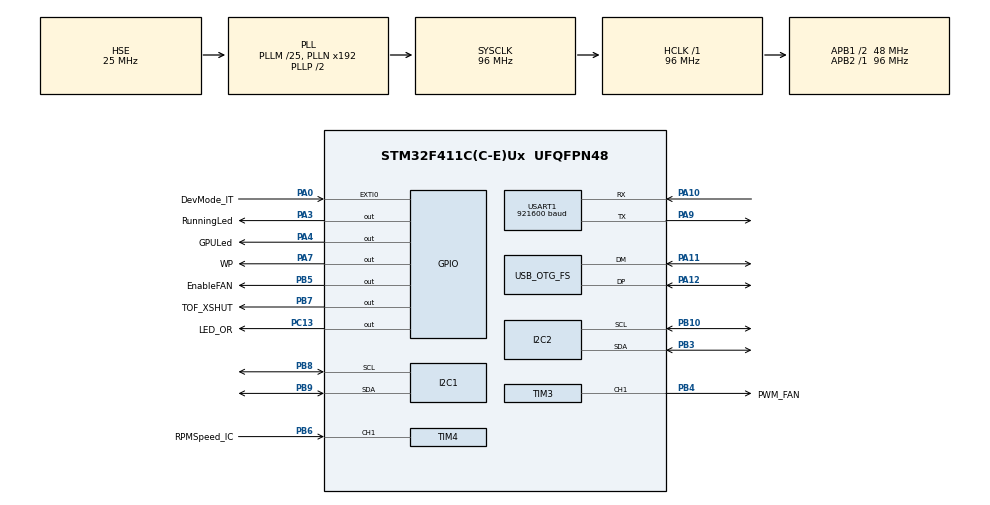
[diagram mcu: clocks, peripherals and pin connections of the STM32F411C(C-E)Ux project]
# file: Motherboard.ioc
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Dma.I2C2_RX.0.Direction=DMA_PERIPH_TO_MEMORY
Dma.I2C2_RX.0.FIFOMode=DMA_FIFOMODE_DISABLE
Dma.I2C2_RX.0.Instance=DMA1_Stream2
Dma.I2C2_RX.0.MemDataAlignment=DMA_MDATAALIGN_BYTE
Dma.I2C2_RX.0.MemInc=DMA_MINC_ENABLE
Dma.I2C2_RX.0.Mode=DMA_NORMAL
Dma.I2C2_RX.0.PeriphDataAlignment=DMA_PDATAALIGN_BYTE
Dma.I2C2_RX.0.PeriphInc=DMA_PINC_DISABLE
Dma.I2C2_RX.0.Priority=DMA_PRIORITY_LOW
Dma.I2C2_TX.1.Direction=DMA_MEMORY_TO_PERIPH
Dma.I2C2_TX.1.FIFOMode=DMA_FIFOMODE_DISABLE
Dma.I2C2_TX.1.Instance=DMA1_Stream7
Dma.I2C2_TX.1.MemDataAlignment=DMA_MDATAALIGN_BYTE
Dma.I2C2_TX.1.MemInc=DMA_MINC_ENABLE
Dma.I2C2_TX.1.Mode=DMA_NORMAL
Dma.I2C2_TX.1.PeriphDataAlignment=DMA_PDATAALIGN_BYTE
Dma.I2C2_TX.1.PeriphInc=DMA_PINC_DISABLE
Dma.I2C2_TX.1.Priority=DMA_PRIORITY_LOW
Dma.Request0=I2C2_RX
Dma.Request1=I2C2_TX
Dma.Request2=USART1_TX
Dma.Request3=USART1_RX
Dma.USART1_RX.3.Direction=DMA_PERIPH_TO_MEMORY
Dma.USART1_RX.3.FIFOMode=DMA_FIFOMODE_DISABLE
Dma.USART1_RX.3.Instance=DMA2_Stream2
Dma.USART1_RX.3.MemDataAlignment=DMA_MDATAALIGN_BYTE
Dma.USART1_RX.3.MemInc=DMA_MINC_ENABLE
Dma.USART1_RX.3.Mode=DMA_NORMAL
Dma.USART1_RX.3.PeriphDataAlignment=DMA_PDATAALIGN_BYTE
Dma.USART1_RX.3.PeriphInc=DMA_PINC_DISABLE
Dma.USART1_RX.3.Priority=DMA_PRIORITY_LOW
Dma.USART1_TX.2.Direction=DMA_MEMORY_TO_PERIPH
Dma.USART1_TX.2.FIFOMode=DMA_FIFOMODE_DISABLE
Dma.USART1_TX.2.Instance=DMA2_Stream7
Dma.USART1_TX.2.MemDataAlignment=DMA_MDATAALIGN_BYTE
Dma.USART1_TX.2.MemInc=DMA_MINC_ENABLE
Dma.USART1_TX.2.Mode=DMA_NORMAL
Dma.USART1_TX.2.PeriphDataAlignment=DMA_PDATAALIGN_BYTE
Dma.USART1_TX.2.PeriphInc=DMA_PINC_DISABLE
Dma.USART1_TX.2.Priority=DMA_PRIORITY_HIGH
FREERTOS.BinarySemaphores01=xSemaphore_PID,Static,xSemaphore_PIDControlBlock;xSemaphore_PID_Init,Static,xSemaphore_PID_InitControlBlock;xSemaphore_DMA_TransferCplt,Static,xSemaphore_DMA_TransferCpltControlBlock;xSemaphore_MemoryPoolUsed,Static,xSemaphore_MemoryPoolUsedControlBlock;xSemaphore_SensorTxCplt,Static,xSemaphore_SensorTxCpltControlBlock;xSemaphore_SensorRxCplt,Static,xSemaphore_SensorRxCpltControlBlock;xSemaphore_InitDaughter,Static,xSemaphore_InitDaughterControlBlock;xSemaphore_SensorError,Static,xSemaphore_SensorErrorControlBlock;xSemaphore_UARTRxCplt,Static,xSemaphore_UARTRxCpltControlBlock;xSemaphore_UARTTxCplt,Static,xSemaphore_UARTTxCpltControlBlock
FREERTOS.Events01=xEvent_FatalError,Static,xEvent_FatalErrorControlBlock;xEvent_ControlModes,Static,xEvent_ControlModesControlBlock;xEvent_Diagnostics,Static,xEvent_DiagnosticsControlBlock;xEvent_USB,Static,xEvent_USBControlBlock
FREERTOS.Mutexes01=xMutex_EEPROM,Static,xMutex_EEPROMControlBlock
FREERTOS.Queues01=xFIFO_COM,16,PDU_t,0,Static,xFIFO_COMBuffer,xFIFO_COMControlBlock;xFIFO_PIDDistance,16,uint16_t,0,Static,xFIFO_DistanceBuffer,xFIFO_DistanceControlBlock;xFIFO_PIDConfigs,16,PIDConfigs,0,Static,xFIFO_PIDConfigsBuffer,xFIFO_PIDConfigsControlBlock;xFIFO_DiagsLong,16,DiagPDU_t,0,Static,xFIFO_DiagsLongBuffer,xFIFO_DiagsLongControlBlock;xFIFO_DiagShort,16,PDU_t,0,Static,xFIFO_DiagShortBuffer,xFIFO_DiagShortControlBlock;xFIFO_COMDistance,32,int16_t,0,Static,xFIFO_COMDistanceBuffer,xFIFO_COMDistanceControlBlock;xFIFO_COMRPM,32,int16_t,0,Static,xFIFO_COMRPMBuffer,xFIFO_COMRPMControlBlock;xFIFO_COMActionControl,32,int16_t,0,Static,xFIFO_COMActionControlBuffer,xFIFO_COMActionControlControlBlock;xFIFO_FANDutyCycle,16,int8_t,0,Static,xFIFO_FANDutyCycleBuffer,xFIFO_FANDutyCycleControlBlock;xFIFO_PIDSetPoint,16,int16_t,0,Static,xFIFO_PIDSetPointBuffer,xFIFO_PIDSetPointControlBlock;xFIFO_USBDistance,32,int16_t,0,Static,xFIFO_USBDistanceBuffer,xFIFO_USBDistanceControlBlock
FREERTOS.Tasks01=TaskWdgM,48,256,vTaskWdgM,Default,NULL,Static,TaskWdgMBuffer,TaskWdgMControlBlock;TaskModeManager,32,128,vTaskModeManager,As external,NULL,Static,TaskModeManagerBuffer,TaskModeManagerControlBlock;TaskPID,32,256,vTaskPID,As external,NULL,Static,TaskPIDBuffer,TaskPIDControlBlock;TaskCOM,40,512,vTaskCOM,As external,NULL,Static,TaskCOMBuffer,TaskCOMControlBlock;TaskDiagAppl,24,128,vTaskDiagAppl,As external,NULL,Static,TaskDiagApplBuffer,TaskDiagApplControlBlock;TaskLeds,32,64,vTaskLeds,As external,NULL,Static,TaskLedsBuffer,TaskLedsControlBlock;TaskSensor,32,256,vTaskSensor,As external,NULL,Static,TaskSensorBuffer,TaskSensorControlBlock;TaskFAN,32,128,vTaskFAN,As external,NULL,Static,TaskFANBuffer,TaskFANControlBlock;SubTaskUSB,24,1024,vSubTaskUSB,As external,NULL,Static,SubTaskUSBBuffer,SubTaskUSBControlBlock;SubTaskUART,24,256,vSubTaskUART,As external,NULL,Static,SubTaskUARTBuffer,SubTaskUARTControlBlock
FREERTOS.Timers01=xTimer_UARTSend,vTimer_UARTSendCallback,osTimerPeriodic,As external,NULL,Static,xTimer_ControlBlock;xTimer_WdgUART,vTimer_WdgUARTCallback,osTimerOnce,As external,NULL,Static,xTimer_WdgUARTControlBlock;xTimer_RestartSensorTask,vTimer_RestartSensorTaskCallback,osTimerOnce,As external,NULL,Static,xTimer_RestartSensorTaskControlBlock
FREERTOS.configCHECK_FOR_STACK_OVERFLOW=2
FREERTOS.configENABLE_FPU=1
FREERTOS.configGENERATE_RUN_TIME_STATS=1
FREERTOS.configMAX_TASK_NAME_LEN=32
FREERTOS.configMINIMAL_STACK_SIZE=64
FREERTOS.configRECORD_STACK_HIGH_ADDRESS=0
FREERTOS.configTIMER_TASK_STACK_DEPTH=256
FREERTOS.configTOTAL_HEAP_SIZE=20480
FREERTOS.configUSE_NEWLIB_REENTRANT=1
FREERTOS.configUSE_STATS_FORMATTING_FUNCTIONS=1
I2C1.I2C_Mode=I2C_Fast
I2C2.I2C_Mode=I2C_Fast
IWDG.Reload=4000
Mcu.Family=STM32F4
Mcu.Name=STM32F411C(C-E)Ux
Mcu.Package=UFQFPN48
NVIC.DMA1_Stream2_IRQn=true\:5\:0\:false\:false\:true\:true\:false\:true\:true
NVIC.DMA1_Stream7_IRQn=true\:5\:0\:false\:false\:true\:true\:false\:true\:true
NVIC.DMA2_Stream2_IRQn=true\:5\:0\:false\:false\:true\:true\:false\:true\:true
NVIC.DMA2_Stream7_IRQn=true\:5\:0\:false\:false\:true\:true\:false\:true\:true
NVIC.I2C1_ER_IRQn=true\:5\:0\:false\:false\:true\:true\:true\:true\:true
NVIC.I2C1_EV_IRQn=true\:5\:0\:false\:false\:true\:true\:true\:true\:true
NVIC.OTG_FS_IRQn=true\:5\:0\:false\:false\:true\:true\:false\:true\:true
NVIC.PriorityGroup=NVIC_PRIORITYGROUP_4
NVIC.TIM1_UP_TIM10_IRQn=true\:5\:0\:false\:false\:true\:true\:true\:true\:true
NVIC.TIM2_IRQn=true\:5\:0\:false\:false\:true\:true\:true\:true\:true
NVIC.TIM4_IRQn=true\:5\:0\:false\:false\:true\:true\:true\:true\:true
NVIC.TIM5_IRQn=true\:5\:0\:false\:false\:true\:true\:true\:true\:true
NVIC.USART1_IRQn=true\:5\:0\:false\:false\:true\:true\:true\:true\:true
PA0-WKUP.GPIO_Label=DevMode_IT
PA0-WKUP.Signal=GPXTI0
PA10.Mode=Asynchronous
PA10.Signal=USART1_RX
PA11.Mode=Device_Only
PA11.Signal=USB_OTG_FS_DM
PA12.Mode=Device_Only
PA12.Signal=USB_OTG_FS_DP
PA13.Mode=Serial_Wire
PA13.Signal=SYS_JTMS-SWDIO
PA14.Mode=Serial_Wire
PA14.Signal=SYS_JTCK-SWCLK
PA3.GPIO_Label=RunningLed
PA3.Signal=GPIO_Output
PA4.GPIO_Label=GPULed
PA4.Signal=GPIO_Output
PA7.GPIO_Label=WP
PA7.Signal=GPIO_Output
PA9.Mode=Asynchronous
PA9.Signal=USART1_TX
PB10.Mode=I2C
PB10.Signal=I2C2_SCL
PB3.Mode=I2C
PB3.Signal=I2C2_SDA
PB4.GPIO_Label=PWM_FAN
PB4.Signal=S_TIM3_CH1
PB5.GPIO_Label=EnableFAN
PB5.Signal=GPIO_Output
PB6.GPIO_Label=RPMSpeed_IC
PB6.GPIO_PuPd=GPIO_PULLUP
PB6.Signal=S_TIM4_CH1
PB7.GPIO_Label=TOF_XSHUT
PB7.Signal=GPIO_Output
PB8.Mode=I2C
PB8.Signal=I2C1_SCL
PB9.Mode=I2C
PB9.Signal=I2C1_SDA
PC13-ANTI_TAMP.GPIO_Label=LED_OR
PC13-ANTI_TAMP.Signal=GPIO_Output
PC14-OSC32_IN.Mode=LSE-External-Oscillator
PC14-OSC32_IN.Signal=RCC_OSC32_IN
PC15-OSC32_OUT.Mode=LSE-External-Oscillator
PC15-OSC32_OUT.Signal=RCC_OSC32_OUT
PH0\ -\ OSC_IN.Mode=HSE-External-Oscillator
PH0\ -\ OSC_IN.Signal=RCC_OSC_IN
PH1\ -\ OSC_OUT.Mode=HSE-External-Oscillator
PH1\ -\ OSC_OUT.Signal=RCC_OSC_OUT
ProjectManager.HeapSize=0x200
ProjectManager.StackSize=0x400
ProjectManager.TargetToolchain=STM32CubeIDE
RCC.48MHZClocksFreq_Value=48000000
RCC.AHBFreq_Value=96000000
RCC.APB1CLKDivider=RCC_HCLK_DIV2
RCC.APB1Freq_Value=48000000
RCC.APB1TimFreq_Value=96000000
RCC.APB2Freq_Value=96000000
RCC.APB2TimFreq_Value=96000000
RCC.CortexFreq_Value=96000000
RCC.HCLKFreq_Value=96000000
RCC.HSE_VALUE=25000000
RCC.HSI_VALUE=16000000
RCC.PLLM=25
RCC.RCC_RTC_Clock_Source=RCC_RTCCLKSOURCE_LSE
RCC.RCC_RTC_Clock_SourceVirtual=RCC_RTCCLKSOURCE_LSE
RCC.SYSCLKFreq_VALUE=96000000
RCC.SYSCLKSource=RCC_SYSCLKSOURCE_PLLCLK
RCC.VCOOutputFreq_Value=192000000
RTC.HourFormat=RTC_HOURFORMAT_12
SH.S_TIM3_CH1.0=TIM3_CH1,PWM Generation1 CH1
SH.S_TIM4_CH1.0=TIM4_CH1,Input_Capture1_from_TI1
TIM1.AutoReloadPreload=TIM_AUTORELOAD_PRELOAD_ENABLE
TIM1.Period=63999
TIM1.Prescaler=14
TIM2.AutoReloadPreload=TIM_AUTORELOAD_PRELOAD_ENABLE
TIM2.Period=0xffffffff
TIM2.Prescaler=96-1
TIM3.AutoReloadPreload=TIM_AUTORELOAD_PRELOAD_ENABLE
TIM3.Channel-PWM\ Generation1\ CH1=TIM_CHANNEL_1
TIM3.Period=3999
TIM4.AutoReloadPreload=TIM_AUTORELOAD_PRELOAD_ENABLE
TIM4.Channel-Input_Capture1_from_TI1=TIM_CHANNEL_1
TIM4.ICFilter_CH1=0
TIM4.Prescaler=96-1
TIM5.AutoReloadPreload=TIM_AUTORELOAD_PRELOAD_ENABLE
TIM5.Period=63999
TIM5.Prescaler=14
USART1.BaudRate=921600
USART1.Parity=PARITY_EVEN
USART1.VirtualMode=VM_ASYNC
USART1.WordLength=WORDLENGTH_9B
USB_DEVICE.CLASS_NAME_FS=CDC
USB_DEVICE.MANUFACTURER_STRING=Instituto Tecnologico de Morelia
USB_DEVICE.PRODUCT_STRING_CDC_FS=Pneumatic Levitator ITM
USB_DEVICE.VirtualMode=Cdc
USB_DEVICE.VirtualModeFS=Cdc_FS
USB_OTG_FS.VirtualMode=Device_Only
VP_FREERTOS_VS_CMSIS_V2.Mode=CMSIS_V2
VP_IWDG_VS_IWDG.Mode=IWDG_Activate
VP_RTC_VS_RTC_Activate.Mode=RTC_Enabled
VP_TIM1_VS_ClockSourceINT.Mode=Internal
VP_TIM2_VS_ClockSourceINT.Mode=Internal
VP_TIM3_VS_ClockSourceINT.Mode=Internal
VP_TIM4_VS_ClockSourceINT.Mode=Internal
VP_TIM5_VS_ClockSourceINT.Mode=Internal
VP_USB_DEVICE_VS_USB_DEVICE_CDC_FS.Mode=CDC_FS
board=custom

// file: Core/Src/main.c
/* USER CODE BEGIN Header */
/**
 * @file      main.c
 * @author    Pedro Rojo (pedroeroca@outlook.com)
 *
 * @brief     Main program Body
 *
 * @date      May 29, 2024
 *
 * @license   This Source Code Form is subject to the terms of
 *            the Mozilla Public License, v. 2.0. If a copy of
 *            the MPL was not distributed with this file, You
 *            can obtain one at https://mozilla.org/MPL/2.0/.
 *
 * @copyright Copyright (c) 2024
 */
/* USER CODE END Header */
#include "main.h"
#include "cmsis_os.h"
#include "usb_device.h"

/* USER CODE BEGIN Includes */
#include "DistanceSensor.h"
#include "DiagAppl.h"
#include "PID.h"
#include "FAN.h"
#include "COM.h"
#include "Signals.h"
#include "NVM.h"
/* USER CODE END Includes */

typedef StaticTask_t osStaticThreadDef_t;
typedef StaticQueue_t osStaticMessageQDef_t;
typedef StaticTimer_t osStaticTimerDef_t;
typedef StaticSemaphore_t osStaticMutexDef_t;
typedef StaticSemaphore_t osStaticSemaphoreDef_t;
typedef StaticEventGroup_t osStaticEventGroupDef_t;

/* USER CODE BEGIN PM */
/*Documenting the peripheals*/

/**
I2C_HandleTypeDef hi2c1; //Connection to the VL53L0X
I2C_HandleTypeDef hi2c2; //Connection to the AT24C04
DMA_HandleTypeDef hdma_i2c2_rx;
DMA_HandleTypeDef hdma_i2c2_tx;

IWDG_HandleTypeDef hiwdg; //Watchdog timer @ 500ms

RTC_HandleTypeDef hrtc; //RTC for date control

Requirements on timers
Acknowledge with Daughter Board @ 10ms (Period desired by COM Engineer)
Fan RPM measure (Input Capture)
Fan PWM controller @ 24KHz (manufacturer recommended frequency)

TIM_HandleTypeDef htim1; //UART Watchdog Timer
TIM_HandleTypeDef htim2; //CPU Load measure for the OS
TIM_HandleTypeDef htim3; //Fan PWM controller @ 24KHz (manufacturer recommended frequency)
TIM_HandleTypeDef htim4; //Fan RPM measure (Input Capture) @ 1MHz
TIM_HandleTypeDef htim5; //Pending for application

UART_HandleTypeDef huart1; //Daughter board connection
DMA_HandleTypeDef hdma_usart1_rx;
DMA_HandleTypeDef hdma_usart1_tx;
 */

/* USER CODE END PM */

I2C_HandleTypeDef hi2c1;
I2C_HandleTypeDef hi2c2;
DMA_HandleTypeDef hdma_i2c2_rx;
DMA_HandleTypeDef hdma_i2c2_tx;

IWDG_HandleTypeDef hiwdg;

RTC_HandleTypeDef hrtc;

TIM_HandleTypeDef htim1;
TIM_HandleTypeDef htim2;
TIM_HandleTypeDef htim3;
TIM_HandleTypeDef htim4;
TIM_HandleTypeDef htim5;

UART_HandleTypeDef huart1;
DMA_HandleTypeDef hdma_usart1_tx;
DMA_HandleTypeDef hdma_usart1_rx;

/* Definitions for TaskWdgM */
osThreadId_t TaskWdgMHandle;
uint32_t TaskWdgMBuffer[ 256 ];
osStaticThreadDef_t TaskWdgMControlBlock;
const osThreadAttr_t TaskWdgM_attributes = {
  .name = "TaskWdgM",
  .cb_mem = &TaskWdgMControlBlock,
  .cb_size = sizeof(TaskWdgMControlBlock),
  .stack_mem = &TaskWdgMBuffer[0],
  .stack_size = sizeof(TaskWdgMBuffer),
  .priority = (osPriority_t) osPriorityRealtime,
};
/* Definitions for TaskModeManager */
osThreadId_t TaskModeManagerHandle;
uint32_t TaskModeManagerBuffer[ 128 ];
osStaticThreadDef_t TaskModeManagerControlBlock;
const osThreadAttr_t TaskModeManager_attributes = {
  .name = "TaskModeManager",
  .cb_mem = &TaskModeManagerControlBlock,
  .cb_size = sizeof(TaskModeManagerControlBlock),
  .stack_mem = &TaskModeManagerBuffer[0],
  .stack_size = sizeof(TaskModeManagerBuffer),
  .priority = (osPriority_t) osPriorityAboveNormal,
};
/* Definitions for TaskPID */
osThreadId_t TaskPIDHandle;
uint32_t TaskPIDBuffer[ 256 ];
osStaticThreadDef_t TaskPIDControlBlock;
const osThreadAttr_t TaskPID_attributes = {
  .name = "TaskPID",
  .cb_mem = &TaskPIDControlBlock,
  .cb_size = sizeof(TaskPIDControlBlock),
  .stack_mem = &TaskPIDBuffer[0],
  .stack_size = sizeof(TaskPIDBuffer),
  .priority = (osPriority_t) osPriorityAboveNormal,
};
/* Definitions for TaskCOM */
osThreadId_t TaskCOMHandle;
uint32_t TaskCOMBuffer[ 512 ];
osStaticThreadDef_t TaskCOMControlBlock;
const osThreadAttr_t TaskCOM_attributes = {
  .name = "TaskCOM",
  .cb_mem = &TaskCOMControlBlock,
  .cb_size = sizeof(TaskCOMControlBlock),
  .stack_mem = &TaskCOMBuffer[0],
  .stack_size = sizeof(TaskCOMBuffer),
  .priority = (osPriority_t) osPriorityHigh,
};
/* Definitions for TaskDiagAppl */
osThreadId_t TaskDiagApplHandle;
uint32_t TaskDiagApplBuffer[ 128 ];
osStaticThreadDef_t TaskDiagApplControlBlock;
const osThreadAttr_t TaskDiagAppl_attributes = {
  .name = "TaskDiagAppl",
  .cb_mem = &TaskDiagApplControlBlock,
  .cb_size = sizeof(TaskDiagApplControlBlock),
  .stack_mem = &TaskDiagApplBuffer[0],
  .stack_size = sizeof(TaskDiagApplBuffer),
  .priority = (osPriority_t) osPriorityNormal,
};
/* Definitions for TaskLeds */
osThreadId_t TaskLedsHandle;
uint32_t TaskLedsBuffer[ 64 ];
osStaticThreadDef_t TaskLedsControlBlock;
const osThreadAttr_t TaskLeds_attributes = {
  .name = "TaskLeds",
  .cb_mem = &TaskLedsControlBlock,
  .cb_size = sizeof(TaskLedsControlBlock),
  .stack_mem = &TaskLedsBuffer[0],
  .stack_size = sizeof(TaskLedsBuffer),
  .priority = (osPriority_t) osPriorityAboveNormal,
};
/* Definitions for TaskSensor */
osThreadId_t TaskSensorHandle;
uint32_t TaskSensorBuffer[ 256 ];
osStaticThreadDef_t TaskSensorControlBlock;
const osThreadAttr_t TaskSensor_attributes = {
  .name = "TaskSensor",
  .cb_mem = &TaskSensorControlBlock,
  .cb_size = sizeof(TaskSensorControlBlock),
  .stack_mem = &TaskSensorBuffer[0],
  .stack_size = sizeof(TaskSensorBuffer),
  .priority = (osPriority_t) osPriorityAboveNormal,
};
/* Definitions for TaskFAN */
osThreadId_t TaskFANHandle;
uint32_t TaskFANBuffer[ 128 ];
osStaticThreadDef_t TaskFANControlBlock;
const osThreadAttr_t TaskFAN_attributes = {
  .name = "TaskFAN",
  .cb_mem = &TaskFANControlBlock,
  .cb_size = sizeof(TaskFANControlBlock),
  .stack_mem = &TaskFANBuffer[0],
  .stack_size = sizeof(TaskFANBuffer),
  .priority = (osPriority_t) osPriorityAboveNormal,
};
/* Definitions for SubTaskUSB */
osThreadId_t SubTaskUSBHandle;
uint32_t SubTaskUSBBuffer[ 1024 ];
osStaticThreadDef_t SubTaskUSBControlBlock;
const osThreadAttr_t SubTaskUSB_attributes = {
  .name = "SubTaskUSB",
  .cb_mem = &SubTaskUSBControlBlock,
  .cb_size = sizeof(SubTaskUSBControlBlock),
  .stack_mem = &SubTaskUSBBuffer[0],
  .stack_size = sizeof(SubTaskUSBBuffer),
  .priority = (osPriority_t) osPriorityNormal,
};
/* Definitions for SubTaskUART */
osThreadId_t SubTaskUARTHandle;
uint32_t SubTaskUARTBuffer[ 256 ];
osStaticThreadDef_t SubTaskUARTControlBlock;
const osThreadAttr_t SubTaskUART_attributes = {
  .name = "SubTaskUART",
  .cb_mem = &SubTaskUARTControlBlock,
  .cb_size = sizeof(SubTaskUARTControlBlock),
  .stack_mem = &SubTaskUARTBuffer[0],
  .stack_size = sizeof(SubTaskUARTBuffer),
  .priority = (osPriority_t) osPriorityNormal,
};
/* Definitions for xFIFO_COM */
osMessageQueueId_t xFIFO_COMHandle;
uint8_t xFIFO_COMBuffer[ 16 * sizeof( PDU_t ) ];
osStaticMessageQDef_t xFIFO_COMControlBlock;
const osMessageQueueAttr_t xFIFO_COM_attributes = {
  .name = "xFIFO_COM",
  .cb_mem = &xFIFO_COMControlBlock,
  .cb_size = sizeof(xFIFO_COMControlBlock),
  .mq_mem = &xFIFO_COMBuffer,
  .mq_size = sizeof(xFIFO_COMBuffer)
};
/* Definitions for xFIFO_PIDDistance */
osMessageQueueId_t xFIFO_PIDDistanceHandle;
uint8_t xFIFO_DistanceBuffer[ 16 * sizeof( uint16_t ) ];
osStaticMessageQDef_t xFIFO_DistanceControlBlock;
const osMessageQueueAttr_t xFIFO_PIDDistance_attributes = {
  .name = "xFIFO_PIDDistance",
  .cb_mem = &xFIFO_DistanceControlBlock,
  .cb_size = sizeof(xFIFO_DistanceControlBlock),
  .mq_mem = &xFIFO_DistanceBuffer,
  .mq_size = sizeof(xFIFO_DistanceBuffer)
};
/* Definitions for xFIFO_PIDConfigs */
osMessageQueueId_t xFIFO_PIDConfigsHandle;
uint8_t xFIFO_PIDConfigsBuffer[ 16 * sizeof( PIDConfigs ) ];
osStaticMessageQDef_t xFIFO_PIDConfigsControlBlock;
const osMessageQueueAttr_t xFIFO_PIDConfigs_attributes = {
  .name = "xFIFO_PIDConfigs",
  .cb_mem = &xFIFO_PIDConfigsControlBlock,
  .cb_size = sizeof(xFIFO_PIDConfigsControlBlock),
  .mq_mem = &xFIFO_PIDConfigsBuffer,
  .mq_size = sizeof(xFIFO_PIDConfigsBuffer)
};
/* Definitions for xFIFO_DiagsLong */
osMessageQueueId_t xFIFO_DiagsLongHandle;
uint8_t xFIFO_DiagsLongBuffer[ 16 * sizeof( DiagPDU_t ) ];
osStaticMessageQDef_t xFIFO_DiagsLongControlBlock;
const osMessageQueueAttr_t xFIFO_DiagsLong_attributes = {
  .name = "xFIFO_DiagsLong",
  .cb_mem = &xFIFO_DiagsLongControlBlock,
  .cb_size = sizeof(xFIFO_DiagsLongControlBlock),
  .mq_mem = &xFIFO_DiagsLongBuffer,
  .mq_size = sizeof(xFIFO_DiagsLongBuffer)
};
/* Definitions for xFIFO_DiagShort */
osMessageQueueId_t xFIFO_DiagShortHandle;
uint8_t xFIFO_DiagShortBuffer[ 16 * sizeof( PDU_t ) ];
osStaticMessageQDef_t xFIFO_DiagShortControlBlock;
const osMessageQueueAttr_t xFIFO_DiagShort_attributes = {
  .name = "xFIFO_DiagShort",
  .cb_mem = &xFIFO_DiagShortControlBlock,
  .cb_size = sizeof(xFIFO_DiagShortControlBlock),
  .mq_mem = &xFIFO_DiagShortBuffer,
  .mq_size = sizeof(xFIFO_DiagShortBuffer)
};
/* Definitions for xFIFO_COMDistance */
osMessageQueueId_t xFIFO_COMDistanceHandle;
uint8_t xFIFO_COMDistanceBuffer[ 32 * sizeof( int16_t ) ];
osStaticMessageQDef_t xFIFO_COMDistanceControlBlock;
const osMessageQueueAttr_t xFIFO_COMDistance_attributes = {
  .name = "xFIFO_COMDistance",
  .cb_mem = &xFIFO_COMDistanceControlBlock,
  .cb_size = sizeof(xFIFO_COMDistanceControlBlock),
  .mq_mem = &xFIFO_COMDistanceBuffer,
  .mq_size = sizeof(xFIFO_COMDistanceBuffer)
};
/* Definitions for xFIFO_COMRPM */
osMessageQueueId_t xFIFO_COMRPMHandle;
uint8_t xFIFO_COMRPMBuffer[ 32 * sizeof( int16_t ) ];
osStaticMessageQDef_t xFIFO_COMRPMControlBlock;
const osMessageQueueAttr_t xFIFO_COMRPM_attributes = {
  .name = "xFIFO_COMRPM",
  .cb_mem = &xFIFO_COMRPMControlBlock,
  .cb_size = sizeof(xFIFO_COMRPMControlBlock),
  .mq_mem = &xFIFO_COMRPMBuffer,
  .mq_size = sizeof(xFIFO_COMRPMBuffer)
};
/* Definitions for xFIFO_COMActionControl */
osMessageQueueId_t xFIFO_COMActionControlHandle;
uint8_t xFIFO_COMActionControlBuffer[ 32 * sizeof( int16_t ) ];
osStaticMessageQDef_t xFIFO_COMActionControlControlBlock;
const osMessageQueueAttr_t xFIFO_COMActionControl_attributes = {
  .name = "xFIFO_COMActionControl",
  .cb_mem = &xFIFO_COMActionControlControlBlock,
  .cb_size = sizeof(xFIFO_COMActionControlControlBlock),
  .mq_mem = &xFIFO_COMActionControlBuffer,
  .mq_size = sizeof(xFIFO_COMActionControlBuffer)
};
/* Definitions for xFIFO_FANDutyCycle */
osMessageQueueId_t xFIFO_FANDutyCycleHandle;
uint8_t xFIFO_FANDutyCycleBuffer[ 16 * sizeof( int8_t ) ];
osStaticMessageQDef_t xFIFO_FANDutyCycleControlBlock;
const osMessageQueueAttr_t xFIFO_FANDutyCycle_attributes = {
  .name = "xFIFO_FANDutyCycle",
  .cb_mem = &xFIFO_FANDutyCycleControlBlock,
  .cb_size = sizeof(xFIFO_FANDutyCycleControlBlock),
  .mq_mem = &xFIFO_FANDutyCycleBuffer,
  .mq_size = sizeof(xFIFO_FANDutyCycleBuffer)
};
/* Definitions for xFIFO_PIDSetPoint */
osMessageQueueId_t xFIFO_PIDSetPointHandle;
uint8_t xFIFO_PIDSetPointBuffer[ 16 * sizeof( int16_t ) ];
osStaticMessageQDef_t xFIFO_PIDSetPointControlBlock;
const osMessageQueueAttr_t xFIFO_PIDSetPoint_attributes = {
  .name = "xFIFO_PIDSetPoint",
  .cb_mem = &xFIFO_PIDSetPointControlBlock,
  .cb_size = sizeof(xFIFO_PIDSetPointControlBlock),
  .mq_mem = &xFIFO_PIDSetPointBuffer,
  .mq_size = sizeof(xFIFO_PIDSetPointBuffer)
};
/* Definitions for xFIFO_USBDistance */
osMessageQueueId_t xFIFO_USBDistanceHandle;
uint8_t xFIFO_USBDistanceBuffer[ 32 * sizeof( int16_t ) ];
osStaticMessageQDef_t xFIFO_USBDistanceControlBlock;
const osMessageQueueAttr_t xFIFO_USBDistance_attributes = {
  .name = "xFIFO_USBDistance",
  .cb_mem = &xFIFO_USBDistanceControlBlock,
  .cb_size = sizeof(xFIFO_USBDistanceControlBlock),
  .mq_mem = &xFIFO_USBDistanceBuffer,
  .mq_size = sizeof(xFIFO_USBDistanceBuffer)
};
/* Definitions for xTimer_UARTSend */
osTimerId_t xTimer_UARTSendHandle;
osStaticTimerDef_t xTimer_ControlBlock;
const osTimerAttr_t xTimer_UARTSend_attributes = {
  .name = "xTimer_UARTSend",
  .cb_mem = &xTimer_ControlBlock,
  .cb_size = sizeof(xTimer_ControlBlock),
};
/* Definitions for xTimer_WdgUART */
osTimerId_t xTimer_WdgUARTHandle;
osStaticTimerDef_t xTimer_WdgUARTControlBlock;
const osTimerAttr_t xTimer_WdgUART_attributes = {
  .name = "xTimer_WdgUART",
  .cb_mem = &xTimer_WdgUARTControlBlock,
  .cb_size = sizeof(xTimer_WdgUARTControlBlock),
};
/* Definitions for xTimer_RestartSensorTask */
osTimerId_t xTimer_RestartSensorTaskHandle;
osStaticTimerDef_t xTimer_RestartSensorTaskControlBlock;
const osTimerAttr_t xTimer_RestartSensorTask_attributes = {
  .name = "xTimer_RestartSensorTask",
  .cb_mem = &xTimer_RestartSensorTaskControlBlock,
  .cb_size = sizeof(xTimer_RestartSensorTaskControlBlock),
};
/* Definitions for xMutex_EEPROM */
osMutexId_t xMutex_EEPROMHandle;
osStaticMutexDef_t xMutex_EEPROMControlBlock;
const osMutexAttr_t xMutex_EEPROM_attributes = {
  .name = "xMutex_EEPROM",
  .cb_mem = &xMutex_EEPROMControlBlock,
  .cb_size = sizeof(xMutex_EEPROMControlBlock),
};
/* Definitions for xSemaphore_PID */
osSemaphoreId_t xSemaphore_PIDHandle;
osStaticSemaphoreDef_t xSemaphore_PIDControlBlock;
const osSemaphoreAttr_t xSemaphore_PID_attributes = {
  .name = "xSemaphore_PID",
  .cb_mem = &xSemaphore_PIDControlBlock,
  .cb_size = sizeof(xSemaphore_PIDControlBlock),
};
/* Definitions for xSemaphore_PID_Init */
osSemaphoreId_t xSemaphore_PID_InitHandle;
osStaticSemaphoreDef_t xSemaphore_PID_InitControlBlock;
const osSemaphoreAttr_t xSemaphore_PID_Init_attributes = {
  .name = "xSemaphore_PID_Init",
  .cb_mem = &xSemaphore_PID_InitControlBlock,
  .cb_size = sizeof(xSemaphore_PID_InitControlBlock),
};
/* Definitions for xSemaphore_DMA_TransferCplt */
osSemaphoreId_t xSemaphore_DMA_TransferCpltHandle;
osStaticSemaphoreDef_t xSemaphore_DMA_TransferCpltControlBlock;
const osSemaphoreAttr_t xSemaphore_DMA_TransferCplt_attributes = {
  .name = "xSemaphore_DMA_TransferCplt",
  .cb_mem = &xSemaphore_DMA_TransferCpltControlBlock,
  .cb_size = sizeof(xSemaphore_DMA_TransferCpltControlBlock),
};
/* Definitions for xSemaphore_MemoryPoolUsed */
osSemaphoreId_t xSemaphore_MemoryPoolUsedHandle;
osStaticSemaphoreDef_t xSemaphore_MemoryPoolUsedControlBlock;
const osSemaphoreAttr_t xSemaphore_MemoryPoolUsed_attributes = {
  .name = "xSemaphore_MemoryPoolUsed",
  .cb_mem = &xSemaphore_MemoryPoolUsedControlBlock,
  .cb_size = sizeof(xSemaphore_MemoryPoolUsedControlBlock),
};
/* Definitions for xSemaphore_SensorTxCplt */
osSemaphoreId_t xSemaphore_SensorTxCpltHandle;
osStaticSemaphoreDef_t xSemaphore_SensorTxCpltControlBlock;
const osSemaphoreAttr_t xSemaphore_SensorTxCplt_attributes = {
  .name = "xSemaphore_SensorTxCplt",
  .cb_mem = &xSemaphore_SensorTxCpltControlBlock,
  .cb_size = sizeof(xSemaphore_SensorTxCpltControlBlock),
};
/* Definitions for xSemaphore_SensorRxCplt */
osSemaphoreId_t xSemaphore_SensorRxCpltHandle;
osStaticSemaphoreDef_t xSemaphore_SensorRxCpltControlBlock;
const osSemaphoreAttr_t xSemaphore_SensorRxCplt_attributes = {
  .name = "xSemaphore_SensorRxCplt",
  .cb_mem = &xSemaphore_SensorRxCpltControlBlock,
  .cb_size = sizeof(xSemaphore_SensorRxCpltControlBlock),
};
/* Definitions for xSemaphore_InitDaughter */
osSemaphoreId_t xSemaphore_InitDaughterHandle;
osStaticSemaphoreDef_t xSemaphore_InitDaughterControlBlock;
const osSemaphoreAttr_t xSemaphore_InitDaughter_attributes = {
  .name = "xSemaphore_InitDaughter",
  .cb_mem = &xSemaphore_InitDaughterControlBlock,
  .cb_size = sizeof(xSemaphore_InitDaughterControlBlock),
};
/* Definitions for xSemaphore_SensorError */
osSemaphoreId_t xSemaphore_SensorErrorHandle;
osStaticSemaphoreDef_t xSemaphore_SensorErrorControlBlock;
const osSemaphoreAttr_t xSemaphore_SensorError_attributes = {
  .name = "xSemaphore_SensorError",
  .cb_mem = &xSemaphore_SensorErrorControlBlock,
  .cb_size = sizeof(xSemaphore_SensorErrorControlBlock),
};
/* Definitions for xSemaphore_UARTRxCplt */
osSemaphoreId_t xSemaphore_UARTRxCpltHandle;
osStaticSemaphoreDef_t xSemaphore_UARTRxCpltControlBlock;
const osSemaphoreAttr_t xSemaphore_UARTRxCplt_attributes = {
  .name = "xSemaphore_UARTRxCplt",
  .cb_mem = &xSemaphore_UARTRxCpltControlBlock,
  .cb_size = sizeof(xSemaphore_UARTRxCpltControlBlock),
};
/* Definitions for xSemaphore_UARTTxCplt */
osSemaphoreId_t xSemaphore_UARTTxCpltHandle;
osStaticSemaphoreDef_t xSemaphore_UARTTxCpltControlBlock;
const osSemaphoreAttr_t xSemaphore_UARTTxCplt_attributes = {
  .name = "xSemaphore_UARTTxCplt",
  .cb_mem = &xSemaphore_UARTTxCpltControlBlock,
  .cb_size = sizeof(xSemaphore_UARTTxCpltControlBlock),
};
/* Definitions for xEvent_FatalError */
osEventFlagsId_t xEvent_FatalErrorHandle;
osStaticEventGroupDef_t xEvent_FatalErrorControlBlock;
const osEventFlagsAttr_t xEvent_FatalError_attributes = {
  .name = "xEvent_FatalError",
  .cb_mem = &xEvent_FatalErrorControlBlock,
  .cb_size = sizeof(xEvent_FatalErrorControlBlock),
};
/* Definitions for xEvent_ControlModes */
osEventFlagsId_t xEvent_ControlModesHandle;
osStaticEventGroupDef_t xEvent_ControlModesControlBlock;
const osEventFlagsAttr_t xEvent_ControlModes_attributes = {
  .name = "xEvent_ControlModes",
  .cb_mem = &xEvent_ControlModesControlBlock,
  .cb_size = sizeof(xEvent_ControlModesControlBlock),
};
/* Definitions for xEvent_Diagnostics */
osEventFlagsId_t xEvent_DiagnosticsHandle;
osStaticEventGroupDef_t xEvent_DiagnosticsControlBlock;
const osEventFlagsAttr_t xEvent_Diagnostics_attributes = {
  .name = "xEvent_Diagnostics",
  .cb_mem = &xEvent_DiagnosticsControlBlock,
  .cb_size = sizeof(xEvent_DiagnosticsControlBlock),
};
/* Definitions for xEvent_USB */
osEventFlagsId_t xEvent_USBHandle;
osStaticEventGroupDef_t xEvent_USBControlBlock;
const osEventFlagsAttr_t xEvent_USB_attributes = {
  .name = "xEvent_USB",
  .cb_mem = &xEvent_USBControlBlock,
  .cb_size = sizeof(xEvent_USBControlBlock),
};
/* USER CODE BEGIN PV */
osMemoryPoolId_t MemoryPoolNVM;  /* Memory Pool for NVM data allocation*/

char CDC_ResBuffer[256];
/* USER CODE END PV */

void SystemClock_Config(void);
static void MX_GPIO_Init(void);
static void MX_DMA_Init(void);
static void MX_IWDG_Init(void);
static void MX_RTC_Init(void);
static void MX_I2C1_Init(void);
static void MX_I2C2_Init(void);
static void MX_USART1_UART_Init(void);
static void MX_TIM3_Init(void);
static void MX_TIM4_Init(void);
static void MX_TIM1_Init(void);
static void MX_TIM2_Init(void);
static void MX_TIM5_Init(void);
void vTaskWdgM(void *argument);
extern void vTaskModeManager(void *argument);
extern void vTaskPID(void *argument);
extern void vTaskCOM(void *argument);
extern void vTaskDiagAppl(void *argument);
extern void vTaskLeds(void *argument);
extern void vTaskSensor(void *argument);
extern void vTaskFAN(void *argument);
extern void vSubTaskUSB(void *argument);
extern void vSubTaskUART(void *argument);
extern void vTimer_UARTSendCallback(void *argument);
extern void vTimer_WdgUARTCallback(void *argument);
extern void vTimer_RestartSensorTaskCallback(void *argument);

int main(void)
{

  /* MCU Configuration--------------------------------------------------------*/

  /* Reset of all peripherals, Initializes the Flash interface and the Systick. */
  HAL_Init();

  /* Configure the system clock */
  SystemClock_Config();

  /* Initialize all configured peripherals */
  MX_GPIO_Init();
  MX_DMA_Init();
  MX_IWDG_Init();
  MX_RTC_Init();
  MX_I2C1_Init();
  MX_I2C2_Init();
  MX_USART1_UART_Init();
  MX_TIM3_Init();
  MX_TIM4_Init();
  MX_TIM1_Init();
  MX_TIM2_Init();
  MX_TIM5_Init();
  /* USER CODE BEGIN 2 */
  MemoryPoolNVM = osMemoryPoolNew(EEPROM_SIZE, sizeof(uint8_t), NULL);
  /* USER CODE END 2 */

  /* Init scheduler */
  osKernelInitialize();
  /* Create the mutex(es) */
  /* creation of xMutex_EEPROM */
  xMutex_EEPROMHandle = osMutexNew(&xMutex_EEPROM_attributes);

  /* Create the semaphores(s) */
  /* creation of xSemaphore_PID */
  xSemaphore_PIDHandle = osSemaphoreNew(1, 1, &xSemaphore_PID_attributes);

  /* creation of xSemaphore_PID_Init */
  xSemaphore_PID_InitHandle = osSemaphoreNew(1, 1, &xSemaphore_PID_Init_attributes);

  /* creation of xSemaphore_DMA_TransferCplt */
  xSemaphore_DMA_TransferCpltHandle = osSemaphoreNew(1, 1, &xSemaphore_DMA_TransferCplt_attributes);

  /* creation of xSemaphore_MemoryPoolUsed */
  xSemaphore_MemoryPoolUsedHandle = osSemaphoreNew(1, 1, &xSemaphore_MemoryPoolUsed_attributes);

  /* creation of xSemaphore_SensorTxCplt */
  xSemaphore_SensorTxCpltHandle = osSemaphoreNew(1, 1, &xSemaphore_SensorTxCplt_attributes);

  /* creation of xSemaphore_SensorRxCplt */
  xSemaphore_SensorRxCpltHandle = osSemaphoreNew(1, 1, &xSemaphore_SensorRxCplt_attributes);

  /* creation of xSemaphore_InitDaughter */
  xSemaphore_InitDaughterHandle = osSemaphoreNew(1, 1, &xSemaphore_InitDaughter_attributes);

  /* creation of xSemaphore_SensorError */
  xSemaphore_SensorErrorHandle = osSemaphoreNew(1, 1, &xSemaphore_SensorError_attributes);

  /* creation of xSemaphore_UARTRxCplt */
  xSemaphore_UARTRxCpltHandle = osSemaphoreNew(1, 1, &xSemaphore_UARTRxCplt_attributes);

  /* creation of xSemaphore_UARTTxCplt */
  xSemaphore_UARTTxCpltHandle = osSemaphoreNew(1, 1, &xSemaphore_UARTTxCplt_attributes);

  /* USER CODE BEGIN RTOS_SEMAPHORES */
  /* add semaphores, ... */
  osSemaphoreAcquire(xSemaphore_InitDaughterHandle, osNoTimeout);
  osSemaphoreAcquire(xSemaphore_SensorErrorHandle, osNoTimeout);
  osSemaphoreAcquire(xSemaphore_UARTRxCpltHandle, osNoTimeout);
  /* USER CODE END RTOS_SEMAPHORES */

  /* Create the timer(s) */
  /* creation of xTimer_UARTSend */
  xTimer_UARTSendHandle = osTimerNew(vTimer_UARTSendCallback, osTimerPeriodic, NULL, &xTimer_UARTSend_attributes);

  /* creation of xTimer_WdgUART */
  xTimer_WdgUARTHandle = osTimerNew(vTimer_WdgUARTCallback, osTimerOnce, NULL, &xTimer_WdgUART_attributes);

  /* creation of xTimer_RestartSensorTask */
  xTimer_RestartSensorTaskHandle = osTimerNew(vTimer_RestartSensorTaskCallback, osTimerOnce, NULL, &xTimer_RestartSensorTask_attributes);

  /* Create the queue(s) */
  /* creation of xFIFO_COM */
  xFIFO_COMHandle = osMessageQueueNew (16, sizeof(PDU_t), &xFIFO_COM_attributes);

  /* creation of xFIFO_PIDDistance */
  xFIFO_PIDDistanceHandle = osMessageQueueNew (16, sizeof(uint16_t), &xFIFO_PIDDistance_attributes);

  /* creation of xFIFO_PIDConfigs */
  xFIFO_PIDConfigsHandle = osMessageQueueNew (16, sizeof(PIDConfigs), &xFIFO_PIDConfigs_attributes);

  /* creation of xFIFO_DiagsLong */
  xFIFO_DiagsLongHandle = osMessageQueueNew (16, sizeof(DiagPDU_t), &xFIFO_DiagsLong_attributes);

  /* creation of xFIFO_DiagShort */
  xFIFO_DiagShortHandle = osMessageQueueNew (16, sizeof(PDU_t), &xFIFO_DiagShort_attributes);

  /* creation of xFIFO_COMDistance */
  xFIFO_COMDistanceHandle = osMessageQueueNew (32, sizeof(int16_t), &xFIFO_COMDistance_attributes);

  /* creation of xFIFO_COMRPM */
  xFIFO_COMRPMHandle = osMessageQueueNew (32, sizeof(int16_t), &xFIFO_COMRPM_attributes);

  /* creation of xFIFO_COMActionControl */
  xFIFO_COMActionControlHandle = osMessageQueueNew (32, sizeof(int16_t), &xFIFO_COMActionControl_attributes);

  /* creation of xFIFO_FANDutyCycle */
  xFIFO_FANDutyCycleHandle = osMessageQueueNew (16, sizeof(int8_t), &xFIFO_FANDutyCycle_attributes);

  /* creation of xFIFO_PIDSetPoint */
  xFIFO_PIDSetPointHandle = osMessageQueueNew (16, sizeof(int16_t), &xFIFO_PIDSetPoint_attributes);

  /* creation of xFIFO_USBDistance */
  xFIFO_USBDistanceHandle = osMessageQueueNew (32, sizeof(int16_t), &xFIFO_USBDistance_attributes);

  /* Create the thread(s) */
  /* creation of TaskWdgM */
  TaskWdgMHandle = osThreadNew(vTaskWdgM, NULL, &TaskWdgM_attributes);

  /* creation of TaskModeManager */
  TaskModeManagerHandle = osThreadNew(vTaskModeManager, NULL, &TaskModeManager_attributes);

  /* creation of TaskPID */
  TaskPIDHandle = osThreadNew(vTaskPID, NULL, &TaskPID_attributes);

  /* creation of TaskCOM */
  TaskCOMHandle = osThreadNew(vTaskCOM, NULL, &TaskCOM_attributes);

  /* creation of TaskDiagAppl */
  TaskDiagApplHandle = osThreadNew(vTaskDiagAppl, NULL, &TaskDiagAppl_attributes);

  /* creation of TaskLeds */
  TaskLedsHandle = osThreadNew(vTaskLeds, NULL, &TaskLeds_attributes);

  /* creation of TaskSensor */
  TaskSensorHandle = osThreadNew(vTaskSensor, NULL, &TaskSensor_attributes);

  /* creation of TaskFAN */
  TaskFANHandle = osThreadNew(vTaskFAN, NULL, &TaskFAN_attributes);

  /* creation of SubTaskUSB */
  SubTaskUSBHandle = osThreadNew(vSubTaskUSB, NULL, &SubTaskUSB_attributes);

  /* creation of SubTaskUART */
  SubTaskUARTHandle = osThreadNew(vSubTaskUART, NULL, &SubTaskUART_attributes);

  /* creation of xEvent_FatalError */
  xEvent_FatalErrorHandle = osEventFlagsNew(&xEvent_FatalError_attributes);

  /* creation of xEvent_ControlModes */
  xEvent_ControlModesHandle = osEventFlagsNew(&xEvent_ControlModes_attributes);

  /* creation of xEvent_Diagnostics */
  xEvent_DiagnosticsHandle = osEventFlagsNew(&xEvent_Diagnostics_attributes);

  /* creation of xEvent_USB */
  xEvent_USBHandle = osEventFlagsNew(&xEvent_USB_attributes);

  /* USER CODE BEGIN RTOS_EVENTS */
#ifdef ALWAYS_DEV_MODE
  osEventFlagsSet(xEvent_ControlModesHandle, DEV_MODE_FLAG);
#endif
  /* USER CODE END RTOS_EVENTS */

  /* Start scheduler */
  osKernelStart();
  /* We should never get here as control is now taken by the scheduler */
  /* Infinite loop */
  while (1)
  {

  }
}

void SystemClock_Config(void)
{
  RCC_OscInitTypeDef RCC_OscInitStruct = {0};
  RCC_ClkInitTypeDef RCC_ClkInitStruct = {0};

  /** Configure the main internal regulator output voltage
  */
  __HAL_RCC_PWR_CLK_ENABLE();
  __HAL_PWR_VOLTAGESCALING_CONFIG(PWR_REGULATOR_VOLTAGE_SCALE1);

  /** Initializes the RCC Oscillators according to the specified parameters
  * in the RCC_OscInitTypeDef structure.
  */
  RCC_OscInitStruct.OscillatorType = RCC_OSCILLATORTYPE_LSI|RCC_OSCILLATORTYPE_HSE
                              |RCC_OSCILLATORTYPE_LSE;
  RCC_OscInitStruct.HSEState = RCC_HSE_ON;
  RCC_OscInitStruct.LSEState = RCC_LSE_ON;
  RCC_OscInitStruct.LSIState = RCC_LSI_ON;
  RCC_OscInitStruct.PLL.PLLState = RCC_PLL_ON;
  RCC_OscInitStruct.PLL.PLLSource = RCC_PLLSOURCE_HSE;
  RCC_OscInitStruct.PLL.PLLM = 25;
  RCC_OscInitStruct.PLL.PLLN = 192;
  RCC_OscInitStruct.PLL.PLLP = RCC_PLLP_DIV2;
  RCC_OscInitStruct.PLL.PLLQ = 4;
  if (HAL_RCC_OscConfig(&RCC_OscInitStruct) != HAL_OK)
  {
    Error_Handler();
  }

  /** Initializes the CPU, AHB and APB buses clocks
  */
  RCC_ClkInitStruct.ClockType = RCC_CLOCKTYPE_HCLK|RCC_CLOCKTYPE_SYSCLK
                              |RCC_CLOCKTYPE_PCLK1|RCC_CLOCKTYPE_PCLK2;
  RCC_ClkInitStruct.SYSCLKSource = RCC_SYSCLKSOURCE_PLLCLK;
  RCC_ClkInitStruct.AHBCLKDivider = RCC_SYSCLK_DIV1;
  RCC_ClkInitStruct.APB1CLKDivider = RCC_HCLK_DIV2;
  RCC_ClkInitStruct.APB2CLKDivider = RCC_HCLK_DIV1;

  if (HAL_RCC_ClockConfig(&RCC_ClkInitStruct, FLASH_LATENCY_3) != HAL_OK)
  {
    Error_Handler();
  }
}

static void MX_I2C1_Init(void)
{

  hi2c1.Instance = I2C1;
  hi2c1.Init.ClockSpeed = 400000;
  hi2c1.Init.DutyCycle = I2C_DUTYCYCLE_2;
  hi2c1.Init.OwnAddress1 = 0;
  hi2c1.Init.AddressingMode = I2C_ADDRESSINGMODE_7BIT;
  hi2c1.Init.DualAddressMode = I2C_DUALADDRESS_DISABLE;
  hi2c1.Init.OwnAddress2 = 0;
  hi2c1.Init.GeneralCallMode = I2C_GENERALCALL_DISABLE;
  hi2c1.Init.NoStretchMode = I2C_NOSTRETCH_DISABLE;
  if (HAL_I2C_Init(&hi2c1) != HAL_OK)
  {
    Error_Handler();
  }

}

static void MX_I2C2_Init(void)
{

  hi2c2.Instance = I2C2;
  hi2c2.Init.ClockSpeed = 400000;
  hi2c2.Init.DutyCycle = I2C_DUTYCYCLE_2;
  hi2c2.Init.OwnAddress1 = 0;
  hi2c2.Init.AddressingMode = I2C_ADDRESSINGMODE_7BIT;
  hi2c2.Init.DualAddressMode = I2C_DUALADDRESS_DISABLE;
  hi2c2.Init.OwnAddress2 = 0;
  hi2c2.Init.GeneralCallMode = I2C_GENERALCALL_DISABLE;
  hi2c2.Init.NoStretchMode = I2C_NOSTRETCH_DISABLE;
  if (HAL_I2C_Init(&hi2c2) != HAL_OK)
  {
    Error_Handler();
  }

}

static void MX_IWDG_Init(void)
{

  hiwdg.Instance = IWDG;
  hiwdg.Init.Prescaler = IWDG_PRESCALER_4;
  hiwdg.Init.Reload = 4000;
  if (HAL_IWDG_Init(&hiwdg) != HAL_OK)
  {
    Error_Handler();
  }

}

static void MX_RTC_Init(void)
{

  /** Initialize RTC Only
  */
  hrtc.Instance = RTC;
  hrtc.Init.HourFormat = RTC_HOURFORMAT_12;
  hrtc.Init.AsynchPrediv = 127;
  hrtc.Init.SynchPrediv = 255;
  hrtc.Init.OutPut = RTC_OUTPUT_DISABLE;
  hrtc.Init.OutPutPolarity = RTC_OUTPUT_POLARITY_HIGH;
  hrtc.Init.OutPutType = RTC_OUTPUT_TYPE_OPENDRAIN;
  if (HAL_RTC_Init(&hrtc) != HAL_OK)
  {
    Error_Handler();
  }

}

static void MX_TIM1_Init(void)
{

  TIM_ClockConfigTypeDef sClockSourceConfig = {0};
  TIM_MasterConfigTypeDef sMasterConfig = {0};

  htim1.Instance = TIM1;
  htim1.Init.Prescaler = 14;
  htim1.Init.CounterMode = TIM_COUNTERMODE_UP;
  htim1.Init.Period = 63999;
  htim1.Init.ClockDivision = TIM_CLOCKDIVISION_DIV1;
  htim1.Init.RepetitionCounter = 0;
  htim1.Init.AutoReloadPreload = TIM_AUTORELOAD_PRELOAD_ENABLE;
  if (HAL_TIM_Base_Init(&htim1) != HAL_OK)
  {
    Error_Handler();
  }
  sClockSourceConfig.ClockSource = TIM_CLOCKSOURCE_INTERNAL;
  if (HAL_TIM_ConfigClockSource(&htim1, &sClockSourceConfig) != HAL_OK)
  {
    Error_Handler();
  }
  sMasterConfig.MasterOutputTrigger = TIM_TRGO_RESET;
  sMasterConfig.MasterSlaveMode = TIM_MASTERSLAVEMODE_DISABLE;
  if (HAL_TIMEx_MasterConfigSynchronization(&htim1, &sMasterConfig) != HAL_OK)
  {
    Error_Handler();
  }

}

static void MX_TIM2_Init(void)
{

  TIM_ClockConfigTypeDef sClockSourceConfig = {0};
  TIM_MasterConfigTypeDef sMasterConfig = {0};

  htim2.Instance = TIM2;
  htim2.Init.Prescaler = 96-1;
  htim2.Init.CounterMode = TIM_COUNTERMODE_UP;
  htim2.Init.Period = 0xffffffff;
  htim2.Init.ClockDivision = TIM_CLOCKDIVISION_DIV1;
  htim2.Init.AutoReloadPreload = TIM_AUTORELOAD_PRELOAD_ENABLE;
  if (HAL_TIM_Base_Init(&htim2) != HAL_OK)
  {
    Error_Handler();
  }
  sClockSourceConfig.ClockSource = TIM_CLOCKSOURCE_INTERNAL;
  if (HAL_TIM_ConfigClockSource(&htim2, &sClockSourceConfig) != HAL_OK)
  {
    Error_Handler();
  }
  sMasterConfig.MasterOutputTrigger = TIM_TRGO_RESET;
  sMasterConfig.MasterSlaveMode = TIM_MASTERSLAVEMODE_DISABLE;
  if (HAL_TIMEx_MasterConfigSynchronization(&htim2, &sMasterConfig) != HAL_OK)
  {
    Error_Handler();
  }

}

static void MX_TIM3_Init(void)
{

  TIM_ClockConfigTypeDef sClockSourceConfig = {0};
  TIM_MasterConfigTypeDef sMasterConfig = {0};
  TIM_OC_InitTypeDef sConfigOC = {0};

  htim3.Instance = TIM3;
  htim3.Init.Prescaler = 0;
  htim3.Init.CounterMode = TIM_COUNTERMODE_UP;
  htim3.Init.Period = 3999;
  htim3.Init.ClockDivision = TIM_CLOCKDIVISION_DIV1;
  htim3.Init.AutoReloadPreload = TIM_AUTORELOAD_PRELOAD_ENABLE;
  if (HAL_TIM_Base_Init(&htim3) != HAL_OK)
  {
    Error_Handler();
  }
  sClockSourceConfig.ClockSource = TIM_CLOCKSOURCE_INTERNAL;
  if (HAL_TIM_ConfigClockSource(&htim3, &sClockSourceConfig) != HAL_OK)
  {
    Error_Handler();
  }
  if (HAL_TIM_PWM_Init(&htim3) != HAL_OK)
  {
    Error_Handler();
  }
  sMasterConfig.MasterOutputTrigger = TIM_TRGO_RESET;
  sMasterConfig.MasterSlaveMode = TIM_MASTERSLAVEMODE_DISABLE;
  if (HAL_TIMEx_MasterConfigSynchronization(&htim3, &sMasterConfig) != HAL_OK)
  {
    Error_Handler();
  }
  sConfigOC.OCMode = TIM_OCMODE_PWM1;
  sConfigOC.Pulse = 0;
  sConfigOC.OCPolarity = TIM_OCPOLARITY_HIGH;
  sConfigOC.OCFastMode = TIM_OCFAST_DISABLE;
  if (HAL_TIM_PWM_ConfigChannel(&htim3, &sConfigOC, TIM_CHANNEL_1) != HAL_OK)
  {
    Error_Handler();
  }
  HAL_TIM_MspPostInit(&htim3);

}

static void MX_TIM4_Init(void)
{

  TIM_ClockConfigTypeDef sClockSourceConfig = {0};
  TIM_MasterConfigTypeDef sMasterConfig = {0};
  TIM_IC_InitTypeDef sConfigIC = {0};

  htim4.Instance = TIM4;
  htim4.Init.Prescaler = 96-1;
  htim4.Init.CounterMode = TIM_COUNTERMODE_UP;
  htim4.Init.Period = 65535;
  htim4.Init.ClockDivision = TIM_CLOCKDIVISION_DIV1;
  htim4.Init.AutoReloadPreload = TIM_AUTORELOAD_PRELOAD_ENABLE;
  if (HAL_TIM_Base_Init(&htim4) != HAL_OK)
  {
    Error_Handler();
  }
  sClockSourceConfig.ClockSource = TIM_CLOCKSOURCE_INTERNAL;
  if (HAL_TIM_ConfigClockSource(&htim4, &sClockSourceConfig) != HAL_OK)
  {
    Error_Handler();
  }
  if (HAL_TIM_IC_Init(&htim4) != HAL_OK)
  {
    Error_Handler();
  }
  sMasterConfig.MasterOutputTrigger = TIM_TRGO_RESET;
  sMasterConfig.MasterSlaveMode = TIM_MASTERSLAVEMODE_DISABLE;
  if (HAL_TIMEx_MasterConfigSynchronization(&htim4, &sMasterConfig) != HAL_OK)
  {
    Error_Handler();
  }
  sConfigIC.ICPolarity = TIM_INPUTCHANNELPOLARITY_RISING;
  sConfigIC.ICSelection = TIM_ICSELECTION_DIRECTTI;
  sConfigIC.ICPrescaler = TIM_ICPSC_DIV1;
  sConfigIC.ICFilter = 0;
  if (HAL_TIM_IC_ConfigChannel(&htim4, &sConfigIC, TIM_CHANNEL_1) != HAL_OK)
  {
    Error_Handler();
  }

}

static void MX_TIM5_Init(void)
{

  TIM_ClockConfigTypeDef sClockSourceConfig = {0};
  TIM_MasterConfigTypeDef sMasterConfig = {0};

  htim5.Instance = TIM5;
  htim5.Init.Prescaler = 14;
  htim5.Init.CounterMode = TIM_COUNTERMODE_UP;
  htim5.Init.Period = 63999;
  htim5.Init.ClockDivision = TIM_CLOCKDIVISION_DIV1;
  htim5.Init.AutoReloadPreload = TIM_AUTORELOAD_PRELOAD_ENABLE;
  if (HAL_TIM_Base_Init(&htim5) != HAL_OK)
  {
    Error_Handler();
  }
  sClockSourceConfig.ClockSource = TIM_CLOCKSOURCE_INTERNAL;
  if (HAL_TIM_ConfigClockSource(&htim5, &sClockSourceConfig) != HAL_OK)
  {
    Error_Handler();
  }
  sMasterConfig.MasterOutputTrigger = TIM_TRGO_RESET;
  sMasterConfig.MasterSlaveMode = TIM_MASTERSLAVEMODE_DISABLE;
  if (HAL_TIMEx_MasterConfigSynchronization(&htim5, &sMasterConfig) != HAL_OK)
  {
    Error_Handler();
  }

}

static void MX_USART1_UART_Init(void)
{

  huart1.Instance = USART1;
  huart1.Init.BaudRate = 921600;
  huart1.Init.WordLength = UART_WORDLENGTH_9B;
  huart1.Init.StopBits = UART_STOPBITS_1;
  huart1.Init.Parity = UART_PARITY_EVEN;
  huart1.Init.Mode = UART_MODE_TX_RX;
  huart1.Init.HwFlowCtl = UART_HWCONTROL_NONE;
  huart1.Init.OverSampling = UART_OVERSAMPLING_16;
  if (HAL_UART_Init(&huart1) != HAL_OK)
  {
    Error_Handler();
  }

}

static void MX_DMA_Init(void)
{

  /* DMA controller clock enable */
  __HAL_RCC_DMA1_CLK_ENABLE();
  __HAL_RCC_DMA2_CLK_ENABLE();

  /* DMA interrupt init */
  /* DMA1_Stream2_IRQn interrupt configuration */
  HAL_NVIC_SetPriority(DMA1_Stream2_IRQn, 5, 0);
  HAL_NVIC_EnableIRQ(DMA1_Stream2_IRQn);
  /* DMA1_Stream7_IRQn interrupt configuration */
  HAL_NVIC_SetPriority(DMA1_Stream7_IRQn, 5, 0);
  HAL_NVIC_EnableIRQ(DMA1_Stream7_IRQn);
  /* DMA2_Stream2_IRQn interrupt configuration */
  HAL_NVIC_SetPriority(DMA2_Stream2_IRQn, 5, 0);
  HAL_NVIC_EnableIRQ(DMA2_Stream2_IRQn);
  /* DMA2_Stream7_IRQn interrupt configuration */
  HAL_NVIC_SetPriority(DMA2_Stream7_IRQn, 5, 0);
  HAL_NVIC_EnableIRQ(DMA2_Stream7_IRQn);

}

static void MX_GPIO_Init(void)
{
  GPIO_InitTypeDef GPIO_InitStruct = {0};

  /* GPIO Ports Clock Enable */
  __HAL_RCC_GPIOC_CLK_ENABLE();
  __HAL_RCC_GPIOH_CLK_ENABLE();
  __HAL_RCC_GPIOA_CLK_ENABLE();
  __HAL_RCC_GPIOB_CLK_ENABLE();

  /*Configure GPIO pin Output Level */
  HAL_GPIO_WritePin(LED_OR_GPIO_Port, LED_OR_Pin, GPIO_PIN_RESET);

  /*Configure GPIO pin Output Level */
  HAL_GPIO_WritePin(GPIOA, RunningLed_Pin|GPULed_Pin|WP_Pin, GPIO_PIN_RESET);

  /*Configure GPIO pin Output Level */
  HAL_GPIO_WritePin(GPIOB, EnableFAN_Pin|TOF_XSHUT_Pin, GPIO_PIN_RESET);

  /*Configure GPIO pin : LED_OR_Pin */
  GPIO_InitStruct.Pin = LED_OR_Pin;
  GPIO_InitStruct.Mode = GPIO_MODE_OUTPUT_PP;
  GPIO_InitStruct.Pull = GPIO_NOPULL;
  GPIO_InitStruct.Speed = GPIO_SPEED_FREQ_LOW;
  HAL_GPIO_Init(LED_OR_GPIO_Port, &GPIO_InitStruct);

  /*Configure GPIO pin : DevMode_IT_Pin */
  GPIO_InitStruct.Pin = DevMode_IT_Pin;
  GPIO_InitStruct.Mode = GPIO_MODE_IT_RISING;
  GPIO_InitStruct.Pull = GPIO_NOPULL;
  HAL_GPIO_Init(DevMode_IT_GPIO_Port, &GPIO_InitStruct);

  /*Configure GPIO pins : RunningLed_Pin GPULed_Pin WP_Pin */
  GPIO_InitStruct.Pin = RunningLed_Pin|GPULed_Pin|WP_Pin;
  GPIO_InitStruct.Mode = GPIO_MODE_OUTPUT_PP;
  GPIO_InitStruct.Pull = GPIO_NOPULL;
  GPIO_InitStruct.Speed = GPIO_SPEED_FREQ_LOW;
  HAL_GPIO_Init(GPIOA, &GPIO_InitStruct);

  /*Configure GPIO pins : EnableFAN_Pin TOF_XSHUT_Pin */
  GPIO_InitStruct.Pin = EnableFAN_Pin|TOF_XSHUT_Pin;
  GPIO_InitStruct.Mode = GPIO_MODE_OUTPUT_PP;
  GPIO_InitStruct.Pull = GPIO_NOPULL;
  GPIO_InitStruct.Speed = GPIO_SPEED_FREQ_LOW;
  HAL_GPIO_Init(GPIOB, &GPIO_InitStruct);

}

/* USER CODE BEGIN Header_vTaskWdgM */
/**
* @brief Function implementing the TaskWdgM thread.
* 			 Due to simple code handling here
* @note  Checking the possibilities on a window watch dog timer
* @param argument: Not used
* @retval None
*/
/* USER CODE END Header_vTaskWdgM */
void vTaskWdgM(void *argument)
{
  /* init code for USB_DEVICE */
  MX_USB_DEVICE_Init();
  /* USER CODE BEGIN 5 */
	const TickType_t ticksForResetWDG = pdMS_TO_TICKS(500); //WDG @ 500ms
	TickType_t ticks;

  NVM_Init();

	HAL_IWDG_Refresh(&hiwdg);
	ticks = osKernelGetTickCount();
  /* Infinite loop */
  for(;;)
  {
    HAL_IWDG_Refresh(&hiwdg);
    ticks += ticksForResetWDG;
    osDelayUntil(ticks);
  }
  /* USER CODE END 5 */
}

void Error_Handler(void)
{
  __disable_irq();
  while (1)
  {
  }
}

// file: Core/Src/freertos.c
/* USER CODE BEGIN Header */
/**
  ******************************************************************************
  * File Name          : freertos.c
  * Description        : Code for freertos applications
  ******************************************************************************
  * @attention
  *
  * Copyright (c) 2024 STMicroelectronics.
  * All rights reserved.
  *
  * This software is licensed under terms that can be found in the LICENSE file
  * in the root directory of this software component.
  * If no LICENSE file comes with this software, it is provided AS-IS.
  *
  ******************************************************************************
  */
/* USER CODE END Header */

#include "FreeRTOS.h"
#include "task.h"
#include "main.h"

/* Hook prototypes */
void configureTimerForRunTimeStats(void);
unsigned long getRunTimeCounterValue(void);
void vApplicationStackOverflowHook(xTaskHandle xTask, signed char *pcTaskName);

/* USER CODE BEGIN 1 */
/* Functions needed when configGENERATE_RUN_TIME_STATS is on */
__weak void configureTimerForRunTimeStats(void)
{

}

__weak unsigned long getRunTimeCounterValue(void)
{
return 0;
}
/* USER CODE END 1 */

/* USER CODE BEGIN 4 */
__weak void vApplicationStackOverflowHook(xTaskHandle xTask, signed char *pcTaskName)
{
   /* Run time stack overflow checking is performed if
   configCHECK_FOR_STACK_OVERFLOW is defined to 1 or 2. This hook function is
   called if a stack overflow is detected. */
}
/* USER CODE END 4 */
